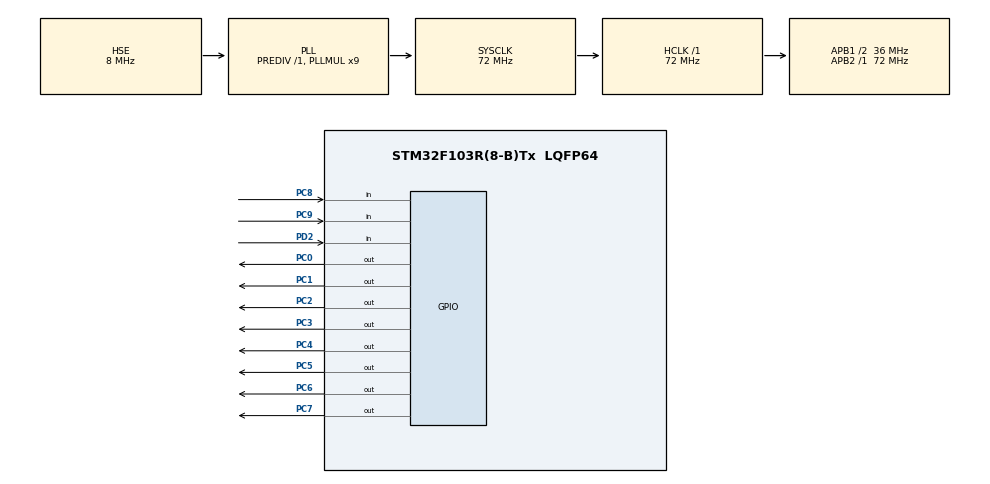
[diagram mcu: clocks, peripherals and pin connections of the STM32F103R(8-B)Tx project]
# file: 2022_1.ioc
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Mcu.Family=STM32F1
Mcu.Name=STM32F103R(8-B)Tx
Mcu.Package=LQFP64
NVIC.PriorityGroup=NVIC_PRIORITYGROUP_4
NVIC.TIM1_BRK_IRQn=true\:0\:0\:false\:false\:true\:true\:true\:true
NVIC.TIM1_CC_IRQn=true\:0\:0\:false\:false\:true\:true\:true\:true
NVIC.TIM1_TRG_COM_IRQn=true\:0\:0\:false\:false\:true\:true\:true\:true
NVIC.TIM1_UP_IRQn=true\:0\:0\:false\:false\:true\:true\:true\:true
PA13.Mode=Serial_Wire
PA13.Signal=SYS_JTMS-SWDIO
PA14.Mode=Serial_Wire
PA14.Signal=SYS_JTCK-SWCLK
PC0.GPIO_PuPd=GPIO_NOPULL
PC0.PinState=GPIO_PIN_SET
PC0.Signal=GPIO_Output
PC1.GPIO_PuPd=GPIO_NOPULL
PC1.PinState=GPIO_PIN_SET
PC1.Signal=GPIO_Output
PC2.GPIO_PuPd=GPIO_NOPULL
PC2.PinState=GPIO_PIN_SET
PC2.Signal=GPIO_Output
PC3.GPIO_PuPd=GPIO_NOPULL
PC3.PinState=GPIO_PIN_SET
PC3.Signal=GPIO_Output
PC4.PinState=GPIO_PIN_SET
PC4.Signal=GPIO_Output
PC5.GPIO_PuPd=GPIO_NOPULL
PC5.PinState=GPIO_PIN_SET
PC5.Signal=GPIO_Output
PC6.GPIO_PuPd=GPIO_NOPULL
PC6.PinState=GPIO_PIN_SET
PC6.Signal=GPIO_Output
PC7.GPIO_PuPd=GPIO_NOPULL
PC7.PinState=GPIO_PIN_SET
PC7.Signal=GPIO_Output
PC8.GPIO_PuPd=GPIO_PULLUP
PC8.Signal=GPIO_Input
PC9.GPIO_PuPd=GPIO_PULLUP
PC9.Signal=GPIO_Input
PD0-OSC_IN.Mode=HSE-External-Oscillator
PD0-OSC_IN.Signal=RCC_OSC_IN
PD1-OSC_OUT.Mode=HSE-External-Oscillator
PD1-OSC_OUT.Signal=RCC_OSC_OUT
PD2.GPIO_PuPd=GPIO_PULLUP
PD2.Signal=GPIO_Input
ProjectManager.HeapSize=0x200
ProjectManager.StackSize=0x400
ProjectManager.TargetToolchain=MDK-ARM V5.32
RCC.AHBFreq_Value=72000000
RCC.APB1CLKDivider=RCC_HCLK_DIV2
RCC.APB1Freq_Value=36000000
RCC.APB1TimFreq_Value=72000000
RCC.APB2Freq_Value=72000000
RCC.APB2TimFreq_Value=72000000
RCC.HCLKFreq_Value=72000000
RCC.PLLMUL=RCC_PLL_MUL9
RCC.PLLSourceVirtual=RCC_PLLSOURCE_HSE
RCC.SYSCLKFreq_VALUE=72000000
RCC.SYSCLKSource=RCC_SYSCLKSOURCE_PLLCLK
RCC.USBFreq_Value=72000000
TIM1.Prescaler=7200-1
VP_TIM1_VS_ClockSourceINT.Mode=Internal
board=custom

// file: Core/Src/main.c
/* USER CODE BEGIN Header */
/**
  ******************************************************************************
  * @file           : main.c
  * @brief          : Main program body
  ******************************************************************************
  * @attention
  *
  * Copyright (c) 2023 STMicroelectronics.
  * All rights reserved.
  *
  * This software is licensed under terms that can be found in the LICENSE file
  * in the root directory of this software component.
  * If no LICENSE file comes with this software, it is provided AS-IS.
  *
  ******************************************************************************
  */
/* USER CODE END Header */
#include "main.h"
#include "tim.h"
#include "gpio.h"

/* USER CODE BEGIN Includes */
#include "tim.h"

/* USER CODE END Includes */

/* USER CODE BEGIN PTD */
#define key0()  HAL_GPIO_ReadPin(GPIOC,GPIO_PIN_8 )
#define key1()  HAL_GPIO_ReadPin(GPIOC,GPIO_PIN_9 )
#define key2()  HAL_GPIO_ReadPin(GPIOD,GPIO_PIN_2 )
//宏定义8个灯的翻转函数
#define LED0_Tog() HAL_GPIO_TogglePin(GPIOC,GPIO_PIN_0)
#define LED1_Tog() HAL_GPIO_TogglePin(GPIOC,GPIO_PIN_1)
#define LED2_Tog() HAL_GPIO_TogglePin(GPIOC,GPIO_PIN_2)
#define LED3_Tog() HAL_GPIO_TogglePin(GPIOC,GPIO_PIN_3)
#define LED4_Tog() HAL_GPIO_TogglePin(GPIOC,GPIO_PIN_4)
#define LED5_Tog() HAL_GPIO_TogglePin(GPIOC,GPIO_PIN_5)
#define LED6_Tog() HAL_GPIO_TogglePin(GPIOC,GPIO_PIN_6)
#define LED7_Tog() HAL_GPIO_TogglePin(GPIOC,GPIO_PIN_7)
#define LED0_ON()  HAL_GPIO_WritePin (GPIOC ,GPIO_PIN_0 ,GPIO_PIN_RESET)
#define LED0_OFF() HAL_GPIO_WritePin (GPIOC ,GPIO_PIN_0 ,GPIO_PIN_SET)

#define LED1_ON()  HAL_GPIO_WritePin (GPIOC ,GPIO_PIN_1 ,GPIO_PIN_RESET)
#define LED1_OFF() HAL_GPIO_WritePin (GPIOC ,GPIO_PIN_1 ,GPIO_PIN_SET)

#define LED2_ON()  HAL_GPIO_WritePin (GPIOC ,GPIO_PIN_2 ,GPIO_PIN_RESET)
#define LED2_OFF() HAL_GPIO_WritePin (GPIOC ,GPIO_PIN_2 ,GPIO_PIN_SET)

#define LED3_ON()  HAL_GPIO_WritePin (GPIOC ,GPIO_PIN_3,GPIO_PIN_RESET)
#define LED3_OFF() HAL_GPIO_WritePin (GPIOC ,GPIO_PIN_3 ,GPIO_PIN_SET)

#define LED4_ON()  HAL_GPIO_WritePin (GPIOC ,GPIO_PIN_4 ,GPIO_PIN_RESET)
#define LED4_OFF() HAL_GPIO_WritePin (GPIOC ,GPIO_PIN_4 ,GPIO_PIN_SET)

#define LED5_ON()  HAL_GPIO_WritePin (GPIOC ,GPIO_PIN_5 ,GPIO_PIN_RESET)
#define LED5_OFF() HAL_GPIO_WritePin (GPIOC ,GPIO_PIN_5 ,GPIO_PIN_SET)

#define LED6_ON()  HAL_GPIO_WritePin (GPIOC ,GPIO_PIN_6 ,GPIO_PIN_RESET)
#define LED6_OFF() HAL_GPIO_WritePin (GPIOC ,GPIO_PIN_6 ,GPIO_PIN_SET)

#define LED7_ON()  HAL_GPIO_WritePin (GPIOC ,GPIO_PIN_7 ,GPIO_PIN_RESET)
#define LED7_OFF() HAL_GPIO_WritePin (GPIOC ,GPIO_PIN_7 ,GPIO_PIN_SET)

void PMD(){
			LED0_ON() ;
			HAL_Delay(500);
			LED0_OFF();

		    LED1_ON() ;
			HAL_Delay(500);
			LED1_OFF();

			LED2_ON() ;
			HAL_Delay(500);
			LED2_OFF();

			LED3_ON() ;
			HAL_Delay(500);
			LED3_OFF();

			LED4_ON() ;
			HAL_Delay(500);
			LED4_OFF();

			LED5_ON() ;
			HAL_Delay(500);
			LED5_OFF();

			LED6_ON() ;
			HAL_Delay(500);
			LED6_OFF();

			LED7_ON() ;
			HAL_Delay(500);
			LED7_OFF();
}

int t=0;
int ttt=0;
int tttt=0;
int tt=0;
void HAL_TIM_PeriodElapsedCallback(TIM_HandleTypeDef *htim){
	if(htim->Instance==TIM1 ){
		HAL_GPIO_TogglePin(GPIOC, GPIO_PIN_0|GPIO_PIN_1|GPIO_PIN_2|GPIO_PIN_3|GPIO_PIN_4|GPIO_PIN_5|GPIO_PIN_6|GPIO_PIN_7);
	}
}
void key_detection_1() {
    uint16_t a = 0, b = 1, double_press_interval = 0;
    uint8_t key_pressed = 0;

    // 检测按键是否按下
    if (key0() == 0) {
        HAL_Delay(20); // 防抖
        if (key0()== 0) {
            key_pressed = 1; // 标记按键已按下
            while (key0()== 0) { // 检测按键是否持续按下
                a++;
                HAL_Delay(100);
            }

            // 检测是否是长按
            if (a > 10) {
                key_pressed = 0; // 重置按键状态
            }
        }
    }

    // 如果是短按，检测是否有第二次按下（双击）
    if (key_pressed) {
        for (a = 0; a < 10; a++) {
            HAL_Delay(20);
            if (key0() == 0) {
                HAL_Delay(20);
                if (key0() == 0) {
                    double_press_interval = 0;
                    while (key0()== 0) { // 等待第二次按键释放
                        double_press_interval++;
                        HAL_Delay(100);
                    }

                    if (double_press_interval < 10) { // 检测双击
						t++;
						if(t%2==0){
							 HAL_GPIO_WritePin(GPIOC, GPIO_PIN_0|GPIO_PIN_1|GPIO_PIN_2|GPIO_PIN_3|GPIO_PIN_4|GPIO_PIN_5|GPIO_PIN_6|GPIO_PIN_7, GPIO_PIN_RESET);
						}
						if(t%2==1){
							 HAL_GPIO_WritePin(GPIOC, GPIO_PIN_0|GPIO_PIN_1|GPIO_PIN_2|GPIO_PIN_3|GPIO_PIN_4|GPIO_PIN_5|GPIO_PIN_6|GPIO_PIN_7, GPIO_PIN_SET);
						}
                        key_pressed = 0; // 重置按键状态
                        break;
                    }
                }
            }
        }

        // 如果不是双击，则是短按
        if (key_pressed) {
            LED0_Tog();
        }
    }
}

void key_detection_2() {
    uint16_t a = 0, b = 1, double_press_interval = 0;
    uint8_t key_pressed = 0;

    // 检测按键是否按下
    if (key1() == 0) {
        HAL_Delay(20); // 防抖
        if (key1()== 0) {
            key_pressed = 1; // 标记按键已按下
            while (key1()== 0) { // 检测按键是否持续按下
                a++;
                HAL_Delay(100);
            }

            // 检测是否是长按
            if (a > 10) {
                key_pressed = 0; // 重置按键状态
            }
        }
    }

    // 如果是短按，检测是否有第二次按下（双击）
    if (key_pressed) {
        for (a = 0; a < 10; a++) {
            HAL_Delay(20);
            if (key1() == 0) {
                HAL_Delay(20);
                if (key1() == 0) {
                    double_press_interval = 0;
                    while (key1()== 0) { // 等待第二次按键释放
                        double_press_interval++;
                        HAL_Delay(100);
                    }

                    if (double_press_interval < 10) { // 检测双击
                        ttt++;
						if(ttt%2==0){
							HAL_TIM_Base_Start_IT(&htim1);
						}
						if(ttt%2==1){
							HAL_TIM_Base_Stop_IT(&htim1);
						}
                        key_pressed = 0; // 重置按键状态
                        break;
                    }
                }
            }
        }

        // 如果不是双击，则是短按
        if (key_pressed) {
            LED1_Tog();
        }
    }
}

void key_detection_3() {
    uint16_t a = 0, b = 1, double_press_interval = 0;
    uint8_t key_pressed = 0;

    // 检测按键是否按下
    if (key2() == 0) {
        HAL_Delay(20); // 防抖
        if (key2()== 0) {
            key_pressed = 1; // 标记按键已按下
            while (key2()== 0) { // 检测按键是否持续按下
                a++;
                HAL_Delay(100);
            }

            // 检测是否是长按
            if (a > 10) {
				 tttt++;
				if(tttt%2==0){
					PMD();
				}
				if(tttt%2==1){
					HAL_GPIO_WritePin(GPIOC, GPIO_PIN_0|GPIO_PIN_1|GPIO_PIN_2|GPIO_PIN_3|GPIO_PIN_4|GPIO_PIN_5|GPIO_PIN_6|GPIO_PIN_7, GPIO_PIN_SET);
				}
                key_pressed = 0; // 重置按键状态
            }
        }
    }

    // 如果是短按，检测是否有第二次按下（双击）
    if (key_pressed) {
        for (a = 0; a < 10; a++) {
            HAL_Delay(20);
            if (key2() == 0) {
                HAL_Delay(20);
                if (key2() == 0) {
                    double_press_interval = 0;
                    while (key2()== 0) { // 等待第二次按键释放
                        double_press_interval++;
                        HAL_Delay(100);
                    }

                    if (double_press_interval < 10) { // 检测双击
                        key_pressed = 0; // 重置按键状态
                        break;
                    }
                }
            }
        }

        // 如果不是双击，则是短按
        if (key_pressed) {
            LED2_Tog();
        }
    }
}

/* USER CODE END PTD */

void SystemClock_Config(void);

int main(void)
{

  /* MCU Configuration--------------------------------------------------------*/

  /* Reset of all peripherals, Initializes the Flash interface and the Systick. */
  HAL_Init();

  /* Configure the system clock */
  SystemClock_Config();

  /* Initialize all configured peripherals */
  MX_GPIO_Init();
  MX_TIM1_Init();

  /* Infinite loop */
  /* USER CODE BEGIN WHILE */
  while (1)
  {
	  key_detection_1();
	  key_detection_2();
	  key_detection_3();
    /* USER CODE END WHILE */

  }
}

void SystemClock_Config(void)
{
  RCC_OscInitTypeDef RCC_OscInitStruct = {0};
  RCC_ClkInitTypeDef RCC_ClkInitStruct = {0};

  /** Initializes the RCC Oscillators according to the specified parameters
  * in the RCC_OscInitTypeDef structure.
  */
  RCC_OscInitStruct.OscillatorType = RCC_OSCILLATORTYPE_HSE;
  RCC_OscInitStruct.HSEState = RCC_HSE_ON;
  RCC_OscInitStruct.HSEPredivValue = RCC_HSE_PREDIV_DIV1;
  RCC_OscInitStruct.HSIState = RCC_HSI_ON;
  RCC_OscInitStruct.PLL.PLLState = RCC_PLL_ON;
  RCC_OscInitStruct.PLL.PLLSource = RCC_PLLSOURCE_HSE;
  RCC_OscInitStruct.PLL.PLLMUL = RCC_PLL_MUL9;
  if (HAL_RCC_OscConfig(&RCC_OscInitStruct) != HAL_OK)
  {
    Error_Handler();
  }

  /** Initializes the CPU, AHB and APB buses clocks
  */
  RCC_ClkInitStruct.ClockType = RCC_CLOCKTYPE_HCLK|RCC_CLOCKTYPE_SYSCLK
                              |RCC_CLOCKTYPE_PCLK1|RCC_CLOCKTYPE_PCLK2;
  RCC_ClkInitStruct.SYSCLKSource = RCC_SYSCLKSOURCE_PLLCLK;
  RCC_ClkInitStruct.AHBCLKDivider = RCC_SYSCLK_DIV1;
  RCC_ClkInitStruct.APB1CLKDivider = RCC_HCLK_DIV2;
  RCC_ClkInitStruct.APB2CLKDivider = RCC_HCLK_DIV1;

  if (HAL_RCC_ClockConfig(&RCC_ClkInitStruct, FLASH_LATENCY_2) != HAL_OK)
  {
    Error_Handler();
  }
}

void Error_Handler(void)
{
  __disable_irq();
  while (1)
  {
  }
}
